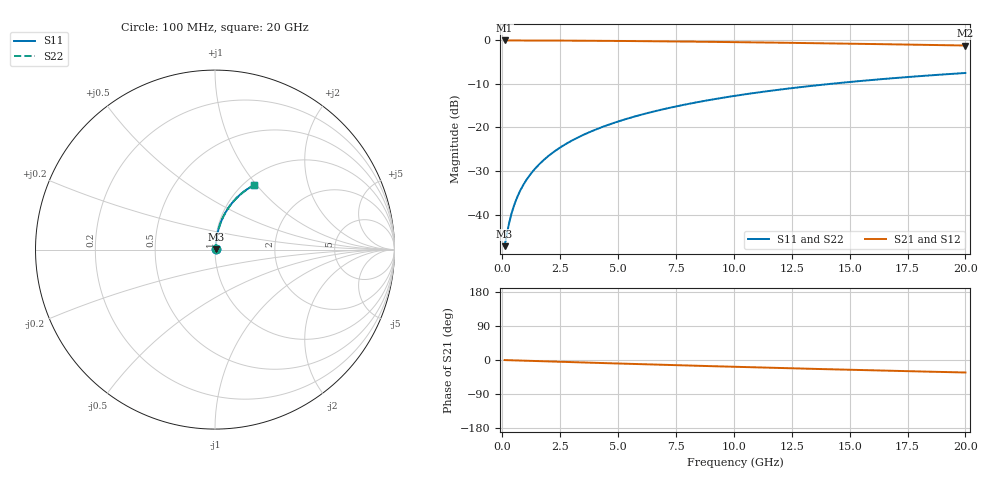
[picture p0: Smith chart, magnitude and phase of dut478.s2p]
! Touchstone file exported from HFSS 2024.1.0
!  File:  C:/UserFiles/LocalFiles/RDL_TSV_Batchsim/temp_RDL_top_478_1779678211.aedt
!  Generated:  11:06:10 AM May 25, 2026
!  Design:  RDL_top
!  Project:  temp_RDL_top_478_1779678211
!  Setup:  Setup1
!  Solution:  Sweep
! Variables:
!  dtsv = 10.80580581um
!  hbump = 3um
!  htsv = 61.97um
!  ldown = 100um
!  lrdl = 362.07um
!  p = 40
!  p1 = 56.53um
!  rhole = 1um
!  t = 450um
!  tdown = 3.915915916um
!  trdl = 3.39um
!  wdown = 15.38538539um
!  wrdl = 10.79um
# GHz S MA R 50.000000
! Terminal data exported
! Port[1] = Box2_T1
! Port[2] = Box2_T2
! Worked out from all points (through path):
!   200 points, 100 MHz to 20 GHz, reference 50 ohm
!   highest |S21| = -0.03 dB at 100 MHz (marker M1); lowest = -1.2 dB at 20 GHz (marker M2)
!   group delay of S21, straight-line fit = 4.58 ps
!   lowest |S11| = -47.3 dB at 100 MHz (marker M3), VSWR 1.01, Z = 50.4 + j0.242 ohm
!   |S11| at or under -10 dB: start of sweep to 14.18 GHz
!   |S22| runs from -47.3 to -7.5 dB; largest |S21 - S12| = 3.3e-15
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0.1  0.00433 33.7  0.9964 -0.2  0.9964 -0.2  0.00433 33.7
! Gamma 0 0 0 0
! Port Impedance 50 0 50 0
0.2  0.006028 52.8  0.9964 -0.4  0.9964 -0.4  0.006028 52.8
0.3  0.008088 62.6  0.9963 -0.6  0.9963 -0.6  0.008088 62.6
0.4  0.01028 68.3  0.9962 -0.8  0.9962 -0.8  0.01028 68.3
0.5  0.01253 71.8  0.9961 -1.0  0.9961 -1.0  0.01253 71.8
0.6  0.01481 74.2  0.996 -1.1  0.996 -1.1  0.01481 74.2
0.8  0.01939 77.3  0.9958 -1.5  0.9958 -1.5  0.01939 77.3
1.1  0.0263 79.7  0.9954 -2.1  0.9954 -2.1  0.0263 79.7
1.5  0.03556 81.2  0.9948 -2.8  0.9948 -2.8  0.03556 81.2
1.8  0.04253 81.8  0.9943 -3.4  0.9943 -3.4  0.04252 81.8
2.1  0.0495 82.1  0.9937 -3.9  0.9937 -3.9  0.0495 82.1
2.7  0.06346 82.2  0.9922 -5.1  0.9922 -5.1  0.06346 82.2
3.5  0.08209 81.7  0.9897 -6.5  0.9897 -6.5  0.08208 81.7
4.2  0.09835 81.1  0.9871 -7.8  0.9871 -7.8  0.09835 81.1
5  0.1169 80.2  0.9837 -9.3  0.9837 -9.3  0.1169 80.2
5.9  0.1376 79.1  0.9793 -10.9  0.9793 -10.9  0.1376 79.1
6.8  0.1582 77.9  0.9745 -12.4  0.9745 -12.4  0.1582 77.9
8.3  0.1921 75.7  0.9654 -15.0  0.9654 -15.0  0.1921 75.7
10.1  0.2317 73.0  0.9532 -18.0  0.9532 -18.0  0.2317 73.0
13.4  0.3008 68.1  0.9281 -23.3  0.9281 -23.3  0.3007 68.1
16.7  0.3642 63.3  0.9007 -28.3  0.9007 -28.3  0.3642 63.3
20  0.4216 58.7  0.8718 -33.0  0.8718 -33.0  0.4216 58.7
